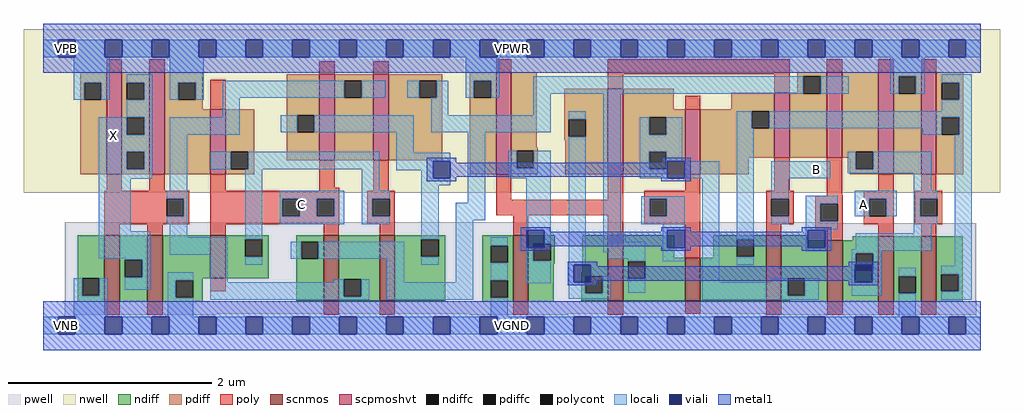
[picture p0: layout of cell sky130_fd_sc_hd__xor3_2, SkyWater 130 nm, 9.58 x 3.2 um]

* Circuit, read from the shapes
.subckt sky130_fd_sc_hd__xor3_2 A B C VGND VNB VPB VPWR X
XM1 X n1 VGND VNB sky130_fd_pr__nfet_01v8 w=0.65 l=0.15 m=2
XM2 n2 C VGND VNB sky130_fd_pr__nfet_01v8 w=0.42 l=0.15
XM3 n1 C n3 VNB sky130_fd_pr__nfet_01v8 w=0.64 l=0.15
XM4 n4 n2 n1 VNB sky130_fd_pr__nfet_01v8 w=0.64 l=0.15
XM5 n5 B VGND VNB sky130_fd_pr__nfet_01v8 w=0.65 l=0.15
XM6 n3 B n6 VNB sky130_fd_pr__nfet_01v8 w=0.64 l=0.15
XM7 n7 n5 n3 VNB sky130_fd_pr__nfet_01v8 w=0.42 l=0.15
XM8 n4 B n7 VNB sky130_fd_pr__nfet_01v8 w=0.64 l=0.15
XM9 n6 n5 n4 VNB sky130_fd_pr__nfet_01v8 w=0.6 l=0.15
XM10 VGND A n6 VNB sky130_fd_pr__nfet_01v8 w=0.64 l=0.15
XM11 n7 n6 VGND VNB sky130_fd_pr__nfet_01v8 w=0.64 l=0.15
XM12 X n1 VPWR VPB sky130_fd_pr__pfet_01v8_hvt w=1 l=0.15 m=2
XM13 n2 C VPWR VPB sky130_fd_pr__pfet_01v8_hvt w=0.64 l=0.15
XM14 n1 C n4 VPB sky130_fd_pr__pfet_01v8_hvt w=0.84 l=0.15
XM15 n3 n2 n1 VPB sky130_fd_pr__pfet_01v8_hvt w=0.84 l=0.15
XM16 n5 B VPWR VPB sky130_fd_pr__pfet_01v8_hvt w=1 l=0.15
XM17 n4 B n6 VPB sky130_fd_pr__pfet_01v8_hvt w=0.84 l=0.15
XM18 n7 n5 n4 VPB sky130_fd_pr__pfet_01v8_hvt w=0.64 l=0.15
XM19 n3 B n7 VPB sky130_fd_pr__pfet_01v8_hvt w=0.64 l=0.15
XM20 n6 n5 n3 VPB sky130_fd_pr__pfet_01v8_hvt w=0.84 l=0.15
XM21 VPWR A n6 VPB sky130_fd_pr__pfet_01v8_hvt w=1 l=0.15
XM22 n7 n6 VPWR VPB sky130_fd_pr__pfet_01v8_hvt w=1 l=0.15
.ends

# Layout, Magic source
magic
tech sky130A
magscale 1 2
<< nwell >>
rect -38 261 1878 582
<< pwell >>
rect 42 201 1525 203
rect 42 23 1831 201
rect 42 21 339 23
rect 836 21 1028 23
rect 1440 21 1831 23
rect 42 17 63 21
rect 29 -17 63 17
<< scnmos >>
rect 120 47 150 177
rect 204 47 234 177
rect 328 93 358 177
rect 550 49 580 177
rect 660 49 690 177
rect 922 47 952 177
rect 1108 49 1138 177
rect 1260 49 1290 133
rect 1419 49 1449 177
rect 1539 47 1569 167
rect 1639 47 1669 175
rect 1723 47 1753 175
<< scpmoshvt >>
rect 124 297 154 497
rect 208 297 238 497
rect 328 297 358 425
rect 542 325 572 493
rect 648 325 678 493
rect 889 297 919 497
rect 1108 297 1138 465
rect 1260 297 1290 425
rect 1435 329 1465 457
rect 1538 329 1568 497
rect 1639 297 1669 497
rect 1723 297 1753 497
<< ndiff >>
rect 68 93 120 177
rect 68 59 76 93
rect 110 59 120 93
rect 68 47 120 59
rect 150 129 204 177
rect 150 95 160 129
rect 194 95 204 129
rect 150 47 204 95
rect 234 93 328 177
rect 358 169 442 177
rect 358 135 396 169
rect 430 135 442 169
rect 358 93 442 135
rect 496 165 550 177
rect 496 131 506 165
rect 540 131 550 165
rect 234 89 313 93
rect 234 55 260 89
rect 294 55 313 89
rect 234 47 313 55
rect 496 49 550 131
rect 580 91 660 177
rect 580 57 590 91
rect 624 57 660 91
rect 580 49 660 57
rect 690 169 789 177
rect 690 135 742 169
rect 776 135 789 169
rect 690 49 789 135
rect 862 157 922 177
rect 862 123 878 157
rect 912 123 922 157
rect 862 89 922 123
rect 862 55 878 89
rect 912 55 922 89
rect 862 47 922 55
rect 952 161 1004 177
rect 952 127 962 161
rect 996 127 1004 161
rect 952 121 1004 127
rect 952 47 1002 121
rect 1058 105 1108 177
rect 1056 97 1108 105
rect 1056 63 1064 97
rect 1098 63 1108 97
rect 1056 49 1108 63
rect 1138 133 1239 177
rect 1315 169 1419 177
rect 1315 135 1361 169
rect 1395 135 1419 169
rect 1315 133 1419 135
rect 1138 126 1260 133
rect 1138 92 1148 126
rect 1182 92 1260 126
rect 1138 49 1260 92
rect 1290 49 1419 133
rect 1449 167 1499 177
rect 1589 167 1639 175
rect 1449 93 1539 167
rect 1449 59 1461 93
rect 1495 59 1539 93
rect 1449 49 1539 59
rect 1466 47 1539 49
rect 1569 142 1639 167
rect 1569 108 1595 142
rect 1629 108 1639 142
rect 1569 47 1639 108
rect 1669 97 1723 175
rect 1669 63 1679 97
rect 1713 63 1723 97
rect 1669 47 1723 63
rect 1753 101 1805 175
rect 1753 67 1763 101
rect 1797 67 1805 101
rect 1753 47 1805 67
<< pdiff >>
rect 72 477 124 497
rect 72 443 80 477
rect 114 443 124 477
rect 72 297 124 443
rect 154 477 208 497
rect 154 443 164 477
rect 198 443 208 477
rect 154 409 208 443
rect 154 375 164 409
rect 198 375 208 409
rect 154 341 208 375
rect 154 307 164 341
rect 198 307 208 341
rect 154 297 208 307
rect 238 477 313 497
rect 238 443 265 477
rect 299 443 313 477
rect 238 425 313 443
rect 238 297 328 425
rect 358 341 414 425
rect 358 307 368 341
rect 402 307 414 341
rect 478 413 542 493
rect 478 379 498 413
rect 532 379 542 413
rect 478 325 542 379
rect 572 481 648 493
rect 572 447 591 481
rect 625 447 648 481
rect 572 325 648 447
rect 678 481 783 493
rect 678 447 738 481
rect 772 447 783 481
rect 678 325 783 447
rect 837 481 889 497
rect 837 447 845 481
rect 879 447 889 481
rect 358 297 414 307
rect 837 297 889 447
rect 919 349 969 497
rect 1023 405 1108 465
rect 1023 371 1031 405
rect 1065 371 1108 405
rect 1023 365 1108 371
rect 919 343 971 349
rect 919 309 929 343
rect 963 309 971 343
rect 919 297 971 309
rect 1025 297 1108 365
rect 1138 425 1238 465
rect 1480 489 1538 497
rect 1480 457 1492 489
rect 1350 425 1435 457
rect 1138 409 1260 425
rect 1138 375 1189 409
rect 1223 375 1260 409
rect 1138 341 1260 375
rect 1138 307 1189 341
rect 1223 307 1260 341
rect 1138 297 1260 307
rect 1290 421 1435 425
rect 1290 387 1391 421
rect 1425 387 1435 421
rect 1290 329 1435 387
rect 1465 455 1492 457
rect 1526 455 1538 489
rect 1465 329 1538 455
rect 1568 341 1639 497
rect 1568 329 1595 341
rect 1290 297 1385 329
rect 1583 307 1595 329
rect 1629 307 1639 341
rect 1583 297 1639 307
rect 1669 489 1723 497
rect 1669 455 1679 489
rect 1713 455 1723 489
rect 1669 297 1723 455
rect 1753 477 1806 497
rect 1753 443 1764 477
rect 1798 443 1806 477
rect 1753 409 1806 443
rect 1753 375 1764 409
rect 1798 375 1806 409
rect 1753 297 1806 375
<< ndiffc >>
rect 76 59 110 93
rect 160 95 194 129
rect 396 135 430 169
rect 506 131 540 165
rect 260 55 294 89
rect 590 57 624 91
rect 742 135 776 169
rect 878 123 912 157
rect 878 55 912 89
rect 962 127 996 161
rect 1064 63 1098 97
rect 1361 135 1395 169
rect 1148 92 1182 126
rect 1461 59 1495 93
rect 1595 108 1629 142
rect 1679 63 1713 97
rect 1763 67 1797 101
<< pdiffc >>
rect 80 443 114 477
rect 164 443 198 477
rect 164 375 198 409
rect 164 307 198 341
rect 265 443 299 477
rect 368 307 402 341
rect 498 379 532 413
rect 591 447 625 481
rect 738 447 772 481
rect 845 447 879 481
rect 1031 371 1065 405
rect 929 309 963 343
rect 1189 375 1223 409
rect 1189 307 1223 341
rect 1391 387 1425 421
rect 1492 455 1526 489
rect 1595 307 1629 341
rect 1679 455 1713 489
rect 1764 443 1798 477
rect 1764 375 1798 409
<< poly >>
rect 124 497 154 523
rect 208 497 238 523
rect 542 493 572 519
rect 648 493 678 519
rect 889 497 919 523
rect 328 425 358 483
rect 124 265 154 297
rect 208 265 238 297
rect 328 265 358 297
rect 542 271 572 325
rect 542 265 581 271
rect 648 265 678 325
rect 1108 493 1465 523
rect 1538 497 1568 523
rect 1639 497 1669 523
rect 1723 497 1753 523
rect 1108 465 1138 493
rect 1435 457 1465 493
rect 1260 425 1290 451
rect 120 249 286 265
rect 120 215 242 249
rect 276 215 286 249
rect 120 199 286 215
rect 328 249 581 265
rect 328 215 469 249
rect 503 215 537 249
rect 571 215 581 249
rect 328 199 581 215
rect 636 249 690 265
rect 636 215 646 249
rect 680 215 690 249
rect 889 247 919 297
rect 1108 247 1138 297
rect 1260 265 1290 297
rect 1435 265 1465 329
rect 889 217 1138 247
rect 636 199 690 215
rect 120 177 150 199
rect 204 177 234 199
rect 328 177 358 199
rect 550 197 581 199
rect 550 177 580 197
rect 660 177 690 199
rect 922 177 952 217
rect 1108 177 1138 217
rect 1180 249 1290 265
rect 1180 215 1190 249
rect 1224 215 1290 249
rect 1180 199 1290 215
rect 328 67 358 93
rect 120 21 150 47
rect 204 21 234 47
rect 550 21 580 49
rect 660 21 690 49
rect 1260 133 1290 199
rect 1419 249 1473 265
rect 1538 256 1568 329
rect 1639 265 1669 297
rect 1723 265 1753 297
rect 1538 255 1569 256
rect 1419 215 1429 249
rect 1463 215 1473 249
rect 1419 199 1473 215
rect 1515 239 1569 255
rect 1515 205 1525 239
rect 1559 205 1569 239
rect 1419 177 1449 199
rect 1515 189 1569 205
rect 1611 249 1669 265
rect 1611 215 1621 249
rect 1655 215 1669 249
rect 1611 199 1669 215
rect 1711 249 1765 265
rect 1711 215 1721 249
rect 1755 215 1765 249
rect 1711 199 1765 215
rect 1539 167 1569 189
rect 1639 175 1669 199
rect 1723 175 1753 199
rect 922 21 952 47
rect 1108 21 1138 49
rect 1260 23 1290 49
rect 1419 21 1449 49
rect 1539 21 1569 47
rect 1639 21 1669 47
rect 1723 21 1753 47
<< polycont >>
rect 242 215 276 249
rect 469 215 503 249
rect 537 215 571 249
rect 646 215 680 249
rect 1190 215 1224 249
rect 1429 215 1463 249
rect 1525 205 1559 239
rect 1621 215 1655 249
rect 1721 215 1755 249
<< locali >>
rect 0 527 29 561
rect 63 527 121 561
rect 155 527 213 561
rect 247 527 305 561
rect 339 527 397 561
rect 431 527 489 561
rect 523 527 581 561
rect 615 527 673 561
rect 707 527 765 561
rect 799 527 857 561
rect 891 527 949 561
rect 983 527 1041 561
rect 1075 527 1133 561
rect 1167 527 1225 561
rect 1259 527 1317 561
rect 1351 527 1409 561
rect 1443 527 1501 561
rect 1535 527 1593 561
rect 1627 527 1685 561
rect 1719 527 1777 561
rect 1811 527 1840 561
rect 60 477 130 527
rect 60 443 80 477
rect 114 443 130 477
rect 164 477 214 493
rect 198 443 214 477
rect 248 477 315 527
rect 829 481 895 527
rect 1663 489 1730 527
rect 248 443 265 477
rect 299 443 315 477
rect 352 447 591 481
rect 625 447 671 481
rect 714 447 738 481
rect 772 447 795 481
rect 829 447 845 481
rect 879 447 895 481
rect 962 455 1492 489
rect 1526 455 1581 489
rect 1663 455 1679 489
rect 1713 455 1730 489
rect 1764 477 1823 493
rect 164 409 214 443
rect 352 409 386 447
rect 761 413 795 447
rect 962 413 996 455
rect 109 375 164 409
rect 198 375 214 409
rect 109 341 214 375
rect 109 307 164 341
rect 198 307 214 341
rect 109 288 214 307
rect 248 375 386 409
rect 466 379 498 413
rect 532 379 727 413
rect 761 379 996 413
rect 1031 405 1065 421
rect 109 185 172 288
rect 248 265 282 375
rect 329 307 368 341
rect 402 307 659 341
rect 242 249 282 265
rect 276 215 282 249
rect 242 199 282 215
rect 109 132 210 185
rect 248 173 282 199
rect 248 139 362 173
rect 160 129 210 132
rect 194 95 210 129
rect 60 59 76 93
rect 110 59 126 93
rect 160 70 210 95
rect 244 89 294 105
rect 60 17 126 59
rect 244 55 260 89
rect 244 17 294 55
rect 328 85 362 139
rect 396 169 430 307
rect 625 265 659 307
rect 693 339 727 379
rect 693 323 799 339
rect 693 305 765 323
rect 742 289 765 305
rect 742 275 799 289
rect 464 249 591 265
rect 464 215 469 249
rect 503 215 537 249
rect 571 215 591 249
rect 464 199 591 215
rect 625 249 680 265
rect 625 215 646 249
rect 625 199 680 215
rect 742 169 776 275
rect 833 241 867 379
rect 913 309 929 343
rect 963 309 996 343
rect 913 289 996 309
rect 396 119 430 135
rect 486 131 506 165
rect 540 131 708 165
rect 570 85 590 91
rect 328 57 590 85
rect 624 57 640 91
rect 328 51 640 57
rect 674 85 708 131
rect 742 119 776 135
rect 810 207 867 241
rect 810 85 844 207
rect 948 187 996 289
rect 674 51 844 85
rect 878 157 912 173
rect 878 89 912 123
rect 948 153 949 187
rect 983 161 996 187
rect 948 127 962 153
rect 948 83 996 127
rect 1031 119 1065 371
rect 1099 178 1133 455
rect 1798 443 1823 477
rect 1764 421 1823 443
rect 1171 375 1189 409
rect 1223 375 1254 409
rect 1171 341 1254 375
rect 1171 307 1189 341
rect 1223 323 1254 341
rect 1361 387 1391 421
rect 1425 409 1823 421
rect 1425 387 1764 409
rect 1223 307 1225 323
rect 1171 289 1225 307
rect 1259 289 1327 323
rect 1174 249 1259 254
rect 1174 215 1190 249
rect 1224 215 1259 249
rect 1174 199 1259 215
rect 1216 187 1259 199
rect 1099 165 1143 178
rect 1099 144 1182 165
rect 1109 131 1182 144
rect 1148 126 1182 131
rect 1216 153 1225 187
rect 1216 126 1259 153
rect 1031 85 1041 119
rect 878 17 912 55
rect 1031 63 1064 85
rect 1098 63 1114 97
rect 1148 64 1182 92
rect 1293 85 1327 289
rect 1361 169 1395 387
rect 1726 375 1764 387
rect 1798 375 1823 409
rect 1429 289 1545 323
rect 1579 307 1595 341
rect 1629 307 1743 341
rect 1579 299 1743 307
rect 1429 249 1463 289
rect 1709 265 1743 299
rect 1429 199 1463 215
rect 1497 239 1559 255
rect 1497 205 1525 239
rect 1593 249 1675 265
rect 1593 215 1621 249
rect 1655 215 1675 249
rect 1709 249 1755 265
rect 1709 215 1721 249
rect 1497 189 1559 205
rect 1709 199 1755 215
rect 1497 187 1538 189
rect 1497 153 1501 187
rect 1535 153 1538 187
rect 1709 181 1743 199
rect 1497 146 1538 153
rect 1595 150 1743 181
rect 1587 147 1743 150
rect 1361 119 1395 135
rect 1587 142 1645 147
rect 1587 119 1595 142
rect 1429 85 1461 93
rect 1031 53 1114 63
rect 1293 59 1461 85
rect 1495 59 1522 93
rect 1587 85 1593 119
rect 1629 108 1645 142
rect 1789 117 1823 375
rect 1627 85 1645 108
rect 1587 59 1645 85
rect 1679 97 1713 113
rect 1293 51 1522 59
rect 1679 17 1713 63
rect 1763 101 1823 117
rect 1797 67 1823 101
rect 1763 51 1823 67
rect 0 -17 29 17
rect 63 -17 121 17
rect 155 -17 213 17
rect 247 -17 305 17
rect 339 -17 397 17
rect 431 -17 489 17
rect 523 -17 581 17
rect 615 -17 673 17
rect 707 -17 765 17
rect 799 -17 857 17
rect 891 -17 949 17
rect 983 -17 1041 17
rect 1075 -17 1133 17
rect 1167 -17 1225 17
rect 1259 -17 1317 17
rect 1351 -17 1409 17
rect 1443 -17 1501 17
rect 1535 -17 1593 17
rect 1627 -17 1685 17
rect 1719 -17 1777 17
rect 1811 -17 1840 17
<< viali >>
rect 29 527 63 561
rect 121 527 155 561
rect 213 527 247 561
rect 305 527 339 561
rect 397 527 431 561
rect 489 527 523 561
rect 581 527 615 561
rect 673 527 707 561
rect 765 527 799 561
rect 857 527 891 561
rect 949 527 983 561
rect 1041 527 1075 561
rect 1133 527 1167 561
rect 1225 527 1259 561
rect 1317 527 1351 561
rect 1409 527 1443 561
rect 1501 527 1535 561
rect 1593 527 1627 561
rect 1685 527 1719 561
rect 1777 527 1811 561
rect 765 289 799 323
rect 949 161 983 187
rect 949 153 962 161
rect 962 153 983 161
rect 1225 289 1259 323
rect 1225 153 1259 187
rect 1041 97 1075 119
rect 1041 85 1064 97
rect 1064 85 1075 97
rect 1501 153 1535 187
rect 1593 108 1595 119
rect 1595 108 1627 119
rect 1593 85 1627 108
rect 29 -17 63 17
rect 121 -17 155 17
rect 213 -17 247 17
rect 305 -17 339 17
rect 397 -17 431 17
rect 489 -17 523 17
rect 581 -17 615 17
rect 673 -17 707 17
rect 765 -17 799 17
rect 857 -17 891 17
rect 949 -17 983 17
rect 1041 -17 1075 17
rect 1133 -17 1167 17
rect 1225 -17 1259 17
rect 1317 -17 1351 17
rect 1409 -17 1443 17
rect 1501 -17 1535 17
rect 1593 -17 1627 17
rect 1685 -17 1719 17
rect 1777 -17 1811 17
<< metal1 >>
rect 0 561 1840 592
rect 0 527 29 561
rect 63 527 121 561
rect 155 527 213 561
rect 247 527 305 561
rect 339 527 397 561
rect 431 527 489 561
rect 523 527 581 561
rect 615 527 673 561
rect 707 527 765 561
rect 799 527 857 561
rect 891 527 949 561
rect 983 527 1041 561
rect 1075 527 1133 561
rect 1167 527 1225 561
rect 1259 527 1317 561
rect 1351 527 1409 561
rect 1443 527 1501 561
rect 1535 527 1593 561
rect 1627 527 1685 561
rect 1719 527 1777 561
rect 1811 527 1840 561
rect 0 496 1840 527
rect 753 323 811 329
rect 753 289 765 323
rect 799 320 811 323
rect 1213 323 1271 329
rect 1213 320 1225 323
rect 799 292 1225 320
rect 799 289 811 292
rect 753 283 811 289
rect 1213 289 1225 292
rect 1259 289 1271 323
rect 1213 283 1271 289
rect 937 187 995 193
rect 937 153 949 187
rect 983 184 995 187
rect 1213 187 1271 193
rect 1213 184 1225 187
rect 983 156 1225 184
rect 983 153 995 156
rect 937 147 995 153
rect 1213 153 1225 156
rect 1259 184 1271 187
rect 1489 187 1547 193
rect 1489 184 1501 187
rect 1259 156 1501 184
rect 1259 153 1271 156
rect 1213 147 1271 153
rect 1489 153 1501 156
rect 1535 153 1547 187
rect 1489 147 1547 153
rect 1029 119 1087 125
rect 1029 85 1041 119
rect 1075 116 1087 119
rect 1581 119 1639 125
rect 1581 116 1593 119
rect 1075 88 1593 116
rect 1075 85 1087 88
rect 1029 79 1087 85
rect 1581 85 1593 88
rect 1627 85 1639 119
rect 1581 79 1639 85
rect 0 17 1840 48
rect 0 -17 29 17
rect 63 -17 121 17
rect 155 -17 213 17
rect 247 -17 305 17
rect 339 -17 397 17
rect 431 -17 489 17
rect 523 -17 581 17
rect 615 -17 673 17
rect 707 -17 765 17
rect 799 -17 857 17
rect 891 -17 949 17
rect 983 -17 1041 17
rect 1075 -17 1133 17
rect 1167 -17 1225 17
rect 1259 -17 1317 17
rect 1351 -17 1409 17
rect 1443 -17 1501 17
rect 1535 -17 1593 17
rect 1627 -17 1685 17
rect 1719 -17 1777 17
rect 1811 -17 1840 17
rect 0 -48 1840 -17
<< labels >>
flabel locali s 121 357 155 391 0 FreeSans 340 0 0 0 X
port 8 nsew signal output
flabel locali s 489 221 523 255 0 FreeSans 340 0 0 0 C
port 3 nsew signal input
flabel locali s 1501 289 1535 323 0 FreeSans 340 0 0 0 B
port 2 nsew signal input
flabel locali s 1593 221 1627 255 0 FreeSans 340 0 0 0 A
port 1 nsew signal input
flabel pwell s 29 -17 63 17 0 FreeSans 200 0 0 0 VNB
port 5 nsew ground bidirectional
flabel nwell s 29 527 63 561 0 FreeSans 200 0 0 0 VPB
port 6 nsew power bidirectional
flabel metal1 s 29 -17 63 17 0 FreeSans 200 0 0 0 VGND
port 4 nsew ground bidirectional abutment
flabel metal1 s 29 527 63 561 0 FreeSans 200 0 0 0 VPWR
port 7 nsew power bidirectional abutment
rlabel comment s 0 0 0 0 4 hkscl5hdv1_xor3_1
flabel comment s 0 544 0 544 3 FreeSans 200 0 0 0 HHNEC
rlabel metal1 s 0 -48 1840 48 1 VGND
port 4 nsew ground bidirectional abutment
rlabel metal1 s 0 496 1840 592 1 VPWR
port 7 nsew power bidirectional abutment
<< properties >>
string FIXED_BBOX 0 0 1840 544
string GDS_END 685594
string GDS_FILE $PDKPATH/libs.ref/sky130_fd_sc_hd/gds/sky130_fd_sc_hd.gds
string GDS_START 673288
string LEFclass CORE
string LEFsite unithd
string LEFsymmetry X Y R90
string path 0.000 0.000 9.200 0.000 
<< end >>
